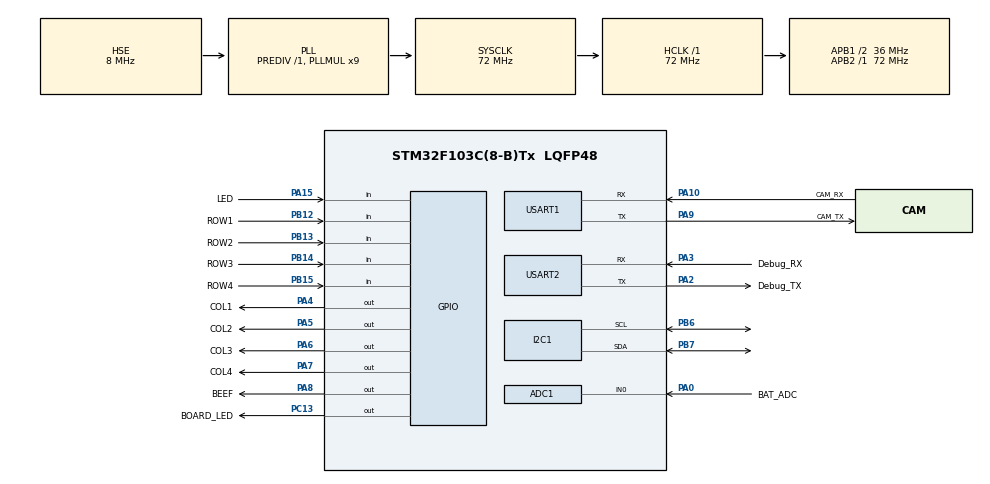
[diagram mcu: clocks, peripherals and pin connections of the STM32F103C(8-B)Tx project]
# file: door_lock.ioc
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ADC1.ContinuousConvMode=DISABLE
ADC1.DataAlign=ADC_DATAALIGN_RIGHT
ADC1.NbrOfConversion=1
ADC1.NbrOfConversionFlag=1
ADC1.master=1
FREERTOS.Queues01=DoorEventQueue,8,DoorEvent,0,Dynamic,NULL,NULL
FREERTOS.Tasks01=PasswordTask,24,256,StartPasswordTask,Default,NULL,Dynamic,NULL,NULL;NfcTask,24,256,StartNfcTask,Default,NULL,Dynamic,NULL,NULL;CtrlTask,32,256,StartCtrlTask,Default,NULL,Dynamic,NULL,NULL
FREERTOS.configTOTAL_HEAP_SIZE=6144
Mcu.Family=STM32F1
Mcu.Name=STM32F103C(8-B)Tx
Mcu.Package=LQFP48
NVIC.PriorityGroup=NVIC_PRIORITYGROUP_4
NVIC.TIM2_IRQn=true\:15\:0\:false\:false\:true\:false\:false\:true\:true
NVIC.TimeBase=TIM2_IRQn
NVIC.TimeBaseIP=TIM2
PA0-WKUP.GPIO_Label=BAT_ADC
PA0-WKUP.Signal=ADCx_IN0
PA10.GPIO_Label=CAM_RX
PA10.Mode=Asynchronous
PA10.Signal=USART1_RX
PA13.Mode=Serial_Wire
PA13.Signal=SYS_JTMS-SWDIO
PA14.Mode=Serial_Wire
PA14.Signal=SYS_JTCK-SWCLK
PA15.GPIO_Label=LED
PA15.GPIO_PuPd=GPIO_PULLDOWN
PA15.Signal=GPIO_Input
PA2.GPIO_Label=Debug_TX
PA2.Mode=Asynchronous
PA2.Signal=USART2_TX
PA3.GPIO_Label=Debug_RX
PA3.Mode=Asynchronous
PA3.Signal=USART2_RX
PA4.GPIO_Label=COL1
PA4.PinState=GPIO_PIN_SET
PA4.Signal=GPIO_Output
PA5.GPIO_Label=COL2
PA5.PinState=GPIO_PIN_SET
PA5.Signal=GPIO_Output
PA6.GPIO_Label=COL3
PA6.PinState=GPIO_PIN_SET
PA6.Signal=GPIO_Output
PA7.GPIO_Label=COL4
PA7.PinState=GPIO_PIN_SET
PA7.Signal=GPIO_Output
PA8.GPIO_Label=BEEF
PA8.Signal=GPIO_Output
PA9.GPIO_Label=CAM_TX
PA9.Mode=Asynchronous
PA9.Signal=USART1_TX
PB12.GPIO_Label=ROW1
PB12.GPIO_PuPd=GPIO_PULLUP
PB12.Signal=GPIO_Input
PB13.GPIO_Label=ROW2
PB13.GPIO_PuPd=GPIO_PULLUP
PB13.Signal=GPIO_Input
PB14.GPIO_Label=ROW3
PB14.GPIO_PuPd=GPIO_PULLUP
PB14.Signal=GPIO_Input
PB15.GPIO_Label=ROW4
PB15.GPIO_PuPd=GPIO_PULLUP
PB15.Signal=GPIO_Input
PB6.Mode=I2C
PB6.Signal=I2C1_SCL
PB7.Mode=I2C
PB7.Signal=I2C1_SDA
PC13-TAMPER-RTC.GPIO_Label=BOARD_LED
PC13-TAMPER-RTC.PinState=GPIO_PIN_SET
PC13-TAMPER-RTC.Signal=GPIO_Output
PD0-OSC_IN.Mode=HSE-External-Oscillator
PD0-OSC_IN.Signal=RCC_OSC_IN
PD1-OSC_OUT.Mode=HSE-External-Oscillator
PD1-OSC_OUT.Signal=RCC_OSC_OUT
ProjectManager.HeapSize=0x200
ProjectManager.StackSize=0x400
ProjectManager.TargetToolchain=CMake
RCC.ADCPresc=RCC_ADCPCLK2_DIV6
RCC.AHBFreq_Value=72000000
RCC.APB1CLKDivider=RCC_HCLK_DIV2
RCC.APB1Freq_Value=36000000
RCC.APB1TimFreq_Value=72000000
RCC.APB2Freq_Value=72000000
RCC.APB2TimFreq_Value=72000000
RCC.HCLKFreq_Value=72000000
RCC.PLLMUL=RCC_PLL_MUL9
RCC.PLLSourceVirtual=RCC_PLLSOURCE_HSE
RCC.SYSCLKFreq_VALUE=72000000
RCC.SYSCLKSource=RCC_SYSCLKSOURCE_PLLCLK
RCC.USBFreq_Value=72000000
SH.ADCx_IN0.0=ADC1_IN0,IN0
USART1.VirtualMode=VM_ASYNC
USART2.VirtualMode=VM_ASYNC
VP_FREERTOS_VS_CMSIS_V2.Mode=CMSIS_V2
VP_SYS_VS_tim2.Mode=TIM2
board=custom

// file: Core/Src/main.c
/* USER CODE BEGIN Header */
/**
  ******************************************************************************
  * @file           : main.c
  * @brief          : Main program body
  ******************************************************************************
  * @attention
  *
  * Copyright (c) 2026 STMicroelectronics.
  * All rights reserved.
  *
  * This software is licensed under terms that can be found in the LICENSE file
  * in the root directory of this software component.
  * If no LICENSE file comes with this software, it is provided AS-IS.
  *
  ******************************************************************************
  */
/* USER CODE END Header */
#include "main.h"
#include "cmsis_os.h"

/* USER CODE BEGIN Includes */
#include <stdint.h>
#include <stdio.h>
#include <stdbool.h>
#include <string.h>
#include "stm32f1xx_hal_uart.h"
#include "access_config.h"
#include "access_control.h"
#include "door_hardware.h"
#include "door_ui.h"
#include "i2c_bus.h"
#include "keypad.h"
#include "pn532.h"
#include "ssd1306.h"
/* USER CODE END Includes */

/* USER CODE BEGIN PTD */
typedef enum {
  DOOR_EVENT_PIN_RESULT = 1,
  DOOR_EVENT_NFC_RESULT,
} DoorEventType;

typedef enum {
  PIN_MODE_NONE = 0,
  PIN_MODE_UNLOCK,
  PIN_MODE_ADMIN_AUTH,
  PIN_MODE_CHANGE_OLD,
  PIN_MODE_CHANGE_NEW,
  PIN_MODE_CHANGE_CONFIRM
} PinEntryMode;

typedef struct {
  DoorEventType type;
  bool authorized;
  uint8_t uid[PN532_MAX_UID_LENGTH];
  uint8_t uid_len;
  char pin[ACCESS_CONFIG_MAX_PIN_LENGTH + 1U];
  AccessControl_Role card_role;
} DoorEvent;

/* USER CODE END PTD */

/* USER CODE BEGIN PD */

#define STATUS_LED_ON GPIO_PIN_SET
#define STATUS_LED_OFF GPIO_PIN_RESET

#define AUTH_FAILURE_ALERT_THRESHOLD 3U
#define AUTH_ALERT_COOLDOWN_MS 30000U

/* USER CODE END PD */

ADC_HandleTypeDef hadc1;

I2C_HandleTypeDef hi2c1;

UART_HandleTypeDef huart1;
UART_HandleTypeDef huart2;

/* Definitions for PasswordTask */
osThreadId_t PasswordTaskHandle;
const osThreadAttr_t PasswordTask_attributes = {
  .name = "PasswordTask",
  .stack_size = 256 * 4,
  .priority = (osPriority_t) osPriorityNormal,
};
/* Definitions for NfcTask */
osThreadId_t NfcTaskHandle;
const osThreadAttr_t NfcTask_attributes = {
  .name = "NfcTask",
  .stack_size = 256 * 4,
  .priority = (osPriority_t) osPriorityNormal,
};
/* Definitions for CtrlTask */
osThreadId_t CtrlTaskHandle;
const osThreadAttr_t CtrlTask_attributes = {
  .name = "CtrlTask",
  .stack_size = 256 * 4,
  .priority = (osPriority_t) osPriorityAboveNormal,
};
/* Definitions for DoorEventQueue */
osMessageQueueId_t DoorEventQueueHandle;
const osMessageQueueAttr_t DoorEventQueue_attributes = {
  .name = "DoorEventQueue"
};
/* USER CODE BEGIN PV */
static PN532_HandleTypeDef hpn532;
static SSD1306_HandleTypeDef holed;
static DoorUI_HandleTypeDef door_ui;
static Keypad_HandleTypeDef keypad;
static AccessControl access_control;
static osMutexId_t I2cBusMutexHandle;
static const osMutexAttr_t I2cBusMutex_attributes = {
  .name = "I2cBusMutex"
};
static PinEntryMode pin_entry_mode;
static bool card_enroll_active;
static char pending_new_pin[ACCESS_CONFIG_MAX_PIN_LENGTH + 1U];
static uint8_t consecutive_auth_failures;
static uint32_t last_capture_alert_tick;

/* USER CODE END PV */

void SystemClock_Config(void);
static void MX_GPIO_Init(void);
static void MX_I2C1_Init(void);
static void MX_USART1_UART_Init(void);
static void MX_USART2_UART_Init(void);
static void MX_ADC1_Init(void);
void StartPasswordTask(void *argument);
void StartNfcTask(void *argument);
void StartCtrlTask(void *argument);

/* USER CODE BEGIN 0 */
static void StatusLed_Set(GPIO_PinState state)
{
  HAL_GPIO_WritePin(BOARD_LED_GPIO_Port, BOARD_LED_Pin, state);
}

static void StatusLed_Authorized(void)
{
  /* 授权成功：亮灯 500 ms。 */
  StatusLed_Set(STATUS_LED_ON);
  osDelay(500U);
  StatusLed_Set(STATUS_LED_OFF);
}

static void StatusLed_Denied(void)
{
  /* 授权失败：快速闪烁两次。 */
  for (uint8_t i = 0U; i < 2U; i++)
  {
    StatusLed_Set(STATUS_LED_ON);
    osDelay(120U);
    StatusLed_Set(STATUS_LED_OFF);
    osDelay(120U);
  }
}

static const char *NfcRoleName(AccessControl_Role role)
{
  switch (role)
  {
    case ACCESS_CONTROL_ROLE_ADMIN:
      return "ADMIN";
    case ACCESS_CONTROL_ROLE_USER:
      return "USER";
    default:
      return "STRANGER";
  }
}

static void ShowAccessResult(bool authorized)
{
  DoorUI_ShowAccessResult(&door_ui, authorized);

  if (authorized)
  {
    printf("[AUTH] AUTHORIZED\r\n");
    printf("DOOR:OPEN\r\n");
    DoorHardware_OnAccessGranted();
    printf("DOOR:CLOSED\r\n");
    StatusLed_Authorized();
  }
  else
  {
    printf("[AUTH] DENIED\r\n");
    DoorHardware_OnAccessDenied();
    StatusLed_Denied();
  }

  osDelay(500U);
  DoorUI_ShowIdle(&door_ui);
}

static bool AuthAlert_IsDue(uint32_t now)
{
  return consecutive_auth_failures >= AUTH_FAILURE_ALERT_THRESHOLD &&
         (last_capture_alert_tick == 0U ||
          (uint32_t)(now - last_capture_alert_tick) >= AUTH_ALERT_COOLDOWN_MS);
}

static void HandleAuthResult(const DoorEvent *event)
{
  uint32_t now = HAL_GetTick();

  if (event->authorized)
  {
    consecutive_auth_failures = 0U;
  }
  else if (consecutive_auth_failures < UINT8_MAX)
  {
    consecutive_auth_failures++;
  }

  /* PIN is stored as a hash; this event carries the entered PIN for host display. */
  if (event->type == DOOR_EVENT_PIN_RESULT)
  {
    printf("AUTH:PASSWORD:%s:%s:PIN\r\n",
           event->authorized ? "SUCCESS" : "FAILED",
           event->pin);
  }
  else if (event->type == DOOR_EVENT_NFC_RESULT)
  {
    char uid_str[PN532_MAX_UID_LENGTH * 2 + 1];
    for (uint8_t i = 0; i < event->uid_len; i++)
    {
      sprintf(uid_str + i * 2, "%02X", event->uid[i]);
    }
    uid_str[event->uid_len * 2] = '\0';
    printf("AUTH:NFC:%s:%s:%s\r\n",
           event->authorized ? "SUCCESS" : "FAILED",
           uid_str,
           NfcRoleName(event->card_role));
  }

  if (!event->authorized && AuthAlert_IsDue(now))
  {
    printf("[ALERT] Consecutive failures: %u\r\n", (unsigned int)consecutive_auth_failures);
    DoorHardware_OnAlert();
    last_capture_alert_tick = now;
  }

  ShowAccessResult(event->authorized);
}

static osStatus_t DoorEvent_Send(DoorEventType type, bool authorized, const uint8_t *uid, uint8_t uid_len,
                                 const char *pin, AccessControl_Role card_role)
{
  DoorEvent event = {0};

  event.type = type;
  event.authorized = authorized;
  event.uid_len = uid_len > PN532_MAX_UID_LENGTH ? PN532_MAX_UID_LENGTH : uid_len;
  event.card_role = card_role;

  if (uid != NULL && event.uid_len > 0U)
  {
    memcpy(event.uid, uid, event.uid_len);
  }

  if (pin != NULL)
  {
    strncpy(event.pin, pin, ACCESS_CONFIG_MAX_PIN_LENGTH);
    event.pin[ACCESS_CONFIG_MAX_PIN_LENGTH] = '\0';
  }

  return osMessageQueuePut(DoorEventQueueHandle, &event, 0U, 0U);
}

static bool PinEntry_IsActive(void)
{
  return pin_entry_mode != PIN_MODE_NONE;
}

static void BeginPinEntry(PinEntryMode mode, const char *title)
{
  pin_entry_mode = mode;
  DoorUI_BeginPinEntryWithTitle(&door_ui, title);
  printf("[PIN] Entry started\r\n");
}

static void EndPinEntry(void)
{
  pin_entry_mode = PIN_MODE_NONE;
  DoorUI_ShowIdle(&door_ui);
}

static void ShowDeniedMessage(const char *title)
{
  pin_entry_mode = PIN_MODE_NONE;
  DoorUI_ShowMessage(&door_ui, title, "WRONG PIN", NULL);
  DoorHardware_OnAccessDenied();
  StatusLed_Denied();
  osDelay(500U);
  DoorUI_ShowIdle(&door_ui);
}

static void SubmitPinEntry(void)
{
  const char *pin = DoorUI_GetPin(&door_ui);

  switch (pin_entry_mode)
  {
    case PIN_MODE_UNLOCK:
      pin_entry_mode = PIN_MODE_NONE;
      (void)DoorEvent_Send(DOOR_EVENT_PIN_RESULT, AccessConfig_IsPinAuthorized(pin), NULL, 0U, pin, ACCESS_CONTROL_ROLE_NONE);
      break;

    case PIN_MODE_ADMIN_AUTH:
      if (AccessConfig_IsPinAuthorized(pin))
      {
        pin_entry_mode = PIN_MODE_NONE;
        card_enroll_active = true;
        DoorUI_ShowMessage(&door_ui, "ADD CARD", "SCAN NEW CARD", "R TO CANCEL");
        printf("[ADMIN] Card enrollment started\r\n");
      }
      else
      {
        ShowDeniedMessage("ADMIN PIN");
      }
      break;

    case PIN_MODE_CHANGE_OLD:
      if (AccessConfig_IsPinAuthorized(pin))
      {
        BeginPinEntry(PIN_MODE_CHANGE_NEW, "NEW PIN");
      }
      else
      {
        ShowDeniedMessage("OLD PIN");
      }
      break;

    case PIN_MODE_CHANGE_NEW:
      if (DoorUI_GetPinLength(&door_ui) > 0U)
      {
        strncpy(pending_new_pin, pin, sizeof(pending_new_pin) - 1U);
        pending_new_pin[sizeof(pending_new_pin) - 1U] = '\0';
        BeginPinEntry(PIN_MODE_CHANGE_CONFIRM, "CONFIRM PIN");
      }
      else
      {
        DoorUI_ShowMessage(&door_ui, "NEW PIN", "1 TO 8 DIGITS", NULL);
        osDelay(700U);
        BeginPinEntry(PIN_MODE_CHANGE_NEW, "NEW PIN");
      }
      break;

    case PIN_MODE_CHANGE_CONFIRM:
      if (strcmp(pin, pending_new_pin) == 0)
      {
        (void)AccessConfig_SetPin(pin);
        pin_entry_mode = PIN_MODE_NONE;
        DoorUI_ShowMessage(&door_ui, "PIN UPDATED", "PASSWORD SAVED", NULL);
        printf("[PIN] Password changed\r\n");
        osDelay(700U);
        DoorUI_ShowIdle(&door_ui);
      }
      else
      {
        DoorUI_ShowMessage(&door_ui, "PIN MISMATCH", "TRY AGAIN", NULL);
        osDelay(700U);
        BeginPinEntry(PIN_MODE_CHANGE_NEW, "NEW PIN");
      }
      break;

    default:
      break;
  }
}

static void HandleKeypadKey(char key)
{
  if (key == KEYPAD_NO_KEY)
  {
    return;
  }

  /* PIN 输入期间不打印数字键明文，其他键正常打印 */
  if (PinEntry_IsActive() && key >= '0' && key <= '9')
  {
    printf("[KEYPAD] Key: *\r\n");
  }
  else
  {
    printf("[KEYPAD] Key: %c\r\n", key);
  }

  if (card_enroll_active)
  {
    if (key == KEYPAD_KEY_BACK)
    {
      card_enroll_active = false;
      DoorUI_ShowIdle(&door_ui);
      printf("[ADMIN] Card enrollment canceled\r\n");
    }
    return;
  }

  if (key >= '0' && key <= '9')
  {
    if (!PinEntry_IsActive())
    {
      BeginPinEntry(PIN_MODE_UNLOCK, "ENTER PIN");
    }

    (void)DoorUI_EnterPinDigit(&door_ui, key);
    return;
  }

  switch (key)
  {
    case KEYPAD_KEY_UNLOCK:
      if (PinEntry_IsActive())
      {
        SubmitPinEntry();
      }
      else
      {
        BeginPinEntry(PIN_MODE_UNLOCK, "ENTER PIN");
      }
      break;
    case KEYPAD_KEY_BACK:
      if (PinEntry_IsActive())
      {
        EndPinEntry();
      }
      break;
    case KEYPAD_KEY_ADMIN:
      BeginPinEntry(PIN_MODE_ADMIN_AUTH, "ADMIN PIN");
      break;
    case KEYPAD_KEY_CHANGE:
      BeginPinEntry(PIN_MODE_CHANGE_OLD, "OLD PIN");
      break;
    case KEYPAD_KEY_CONFIRM:
      if (PinEntry_IsActive())
      {
        SubmitPinEntry();
      }
      break;
    case KEYPAD_KEY_DELETE:
      if (PinEntry_IsActive())
      {
        (void)DoorUI_BackspacePin(&door_ui);
      }
      break;

    default:
      break;
  }
}

int _write(int file, char *ptr, int len)
{
  (void)file;
  HAL_UART_Transmit(&huart2, (uint8_t *)ptr, len, HAL_MAX_DELAY);
  return len;
}
/* USER CODE END 0 */

int main(void)
{

  /* MCU Configuration--------------------------------------------------------*/

  /* Reset of all peripherals, Initializes the Flash interface and the Systick. */
  HAL_Init();

  /* Configure the system clock */
  SystemClock_Config();

  /* Initialize all configured peripherals */
  MX_GPIO_Init();
  MX_I2C1_Init();
  MX_USART1_UART_Init();
  MX_USART2_UART_Init();
  MX_ADC1_Init();
  /* USER CODE BEGIN 2 */
  AccessConfig_Init();
  AccessControl_Init(&access_control);
  printf("[AUTH] Loaded %lu authorized card(s)\r\n",
         (unsigned long)AccessConfig_LoadAuthorizedCards(&access_control));
  /* USER CODE END 2 */

  /* Init scheduler */
  osKernelInitialize();

  /* USER CODE BEGIN RTOS_MUTEX */
  /* add mutexes, ... */
  I2cBusMutexHandle = osMutexNew(&I2cBusMutex_attributes);
  if (I2cBusMutexHandle == NULL)
  {
    Error_Handler();
  }
  I2CBus_Init(I2cBusMutexHandle);
  /* USER CODE END RTOS_MUTEX */

  /* Create the queue(s) */
  /* creation of DoorEventQueue */
  DoorEventQueueHandle = osMessageQueueNew (8, sizeof(DoorEvent), &DoorEventQueue_attributes);

  /* Create the thread(s) */
  /* creation of PasswordTask */
  PasswordTaskHandle = osThreadNew(StartPasswordTask, NULL, &PasswordTask_attributes);

  /* creation of NfcTask */
  NfcTaskHandle = osThreadNew(StartNfcTask, NULL, &NfcTask_attributes);

  /* creation of CtrlTask */
  CtrlTaskHandle = osThreadNew(StartCtrlTask, NULL, &CtrlTask_attributes);

  /* Start scheduler */
  osKernelStart();

  /* We should never get here as control is now taken by the scheduler */

  /* Infinite loop */
  while (1)
  {

  }
}

void SystemClock_Config(void)
{
  RCC_OscInitTypeDef RCC_OscInitStruct = {0};
  RCC_ClkInitTypeDef RCC_ClkInitStruct = {0};
  RCC_PeriphCLKInitTypeDef PeriphClkInit = {0};

  /** Initializes the RCC Oscillators according to the specified parameters
  * in the RCC_OscInitTypeDef structure.
  */
  RCC_OscInitStruct.OscillatorType = RCC_OSCILLATORTYPE_HSE;
  RCC_OscInitStruct.HSEState = RCC_HSE_ON;
  RCC_OscInitStruct.HSEPredivValue = RCC_HSE_PREDIV_DIV1;
  RCC_OscInitStruct.HSIState = RCC_HSI_ON;
  RCC_OscInitStruct.PLL.PLLState = RCC_PLL_ON;
  RCC_OscInitStruct.PLL.PLLSource = RCC_PLLSOURCE_HSE;
  RCC_OscInitStruct.PLL.PLLMUL = RCC_PLL_MUL9;
  if (HAL_RCC_OscConfig(&RCC_OscInitStruct) != HAL_OK)
  {
    Error_Handler();
  }

  /** Initializes the CPU, AHB and APB buses clocks
  */
  RCC_ClkInitStruct.ClockType = RCC_CLOCKTYPE_HCLK|RCC_CLOCKTYPE_SYSCLK
                              |RCC_CLOCKTYPE_PCLK1|RCC_CLOCKTYPE_PCLK2;
  RCC_ClkInitStruct.SYSCLKSource = RCC_SYSCLKSOURCE_PLLCLK;
  RCC_ClkInitStruct.AHBCLKDivider = RCC_SYSCLK_DIV1;
  RCC_ClkInitStruct.APB1CLKDivider = RCC_HCLK_DIV2;
  RCC_ClkInitStruct.APB2CLKDivider = RCC_HCLK_DIV1;

  if (HAL_RCC_ClockConfig(&RCC_ClkInitStruct, FLASH_LATENCY_2) != HAL_OK)
  {
    Error_Handler();
  }
  PeriphClkInit.PeriphClockSelection = RCC_PERIPHCLK_ADC;
  PeriphClkInit.AdcClockSelection = RCC_ADCPCLK2_DIV6;
  if (HAL_RCCEx_PeriphCLKConfig(&PeriphClkInit) != HAL_OK)
  {
    Error_Handler();
  }
}

static void MX_ADC1_Init(void)
{

  /** Common config
  */
  hadc1.Instance = ADC1;
  hadc1.Init.ScanConvMode = ADC_SCAN_DISABLE;
  hadc1.Init.ContinuousConvMode = DISABLE;
  hadc1.Init.DiscontinuousConvMode = DISABLE;
  hadc1.Init.ExternalTrigConv = ADC_SOFTWARE_START;
  hadc1.Init.DataAlign = ADC_DATAALIGN_RIGHT;
  hadc1.Init.NbrOfConversion = 1;
  if (HAL_ADC_Init(&hadc1) != HAL_OK)
  {
    Error_Handler();
  }

}

static void MX_I2C1_Init(void)
{

  hi2c1.Instance = I2C1;
  hi2c1.Init.ClockSpeed = 100000;
  hi2c1.Init.DutyCycle = I2C_DUTYCYCLE_2;
  hi2c1.Init.OwnAddress1 = 0;
  hi2c1.Init.AddressingMode = I2C_ADDRESSINGMODE_7BIT;
  hi2c1.Init.DualAddressMode = I2C_DUALADDRESS_DISABLE;
  hi2c1.Init.OwnAddress2 = 0;
  hi2c1.Init.GeneralCallMode = I2C_GENERALCALL_DISABLE;
  hi2c1.Init.NoStretchMode = I2C_NOSTRETCH_DISABLE;
  if (HAL_I2C_Init(&hi2c1) != HAL_OK)
  {
    Error_Handler();
  }

}

static void MX_USART1_UART_Init(void)
{

  huart1.Instance = USART1;
  huart1.Init.BaudRate = 115200;
  huart1.Init.WordLength = UART_WORDLENGTH_8B;
  huart1.Init.StopBits = UART_STOPBITS_1;
  huart1.Init.Parity = UART_PARITY_NONE;
  huart1.Init.Mode = UART_MODE_TX_RX;
  huart1.Init.HwFlowCtl = UART_HWCONTROL_NONE;
  huart1.Init.OverSampling = UART_OVERSAMPLING_16;
  if (HAL_UART_Init(&huart1) != HAL_OK)
  {
    Error_Handler();
  }

}

static void MX_USART2_UART_Init(void)
{

  huart2.Instance = USART2;
  huart2.Init.BaudRate = 115200;
  huart2.Init.WordLength = UART_WORDLENGTH_8B;
  huart2.Init.StopBits = UART_STOPBITS_1;
  huart2.Init.Parity = UART_PARITY_NONE;
  huart2.Init.Mode = UART_MODE_TX_RX;
  huart2.Init.HwFlowCtl = UART_HWCONTROL_NONE;
  huart2.Init.OverSampling = UART_OVERSAMPLING_16;
  if (HAL_UART_Init(&huart2) != HAL_OK)
  {
    Error_Handler();
  }

}

static void MX_GPIO_Init(void)
{
  GPIO_InitTypeDef GPIO_InitStruct = {0};

  /* GPIO Ports Clock Enable */
  __HAL_RCC_GPIOC_CLK_ENABLE();
  __HAL_RCC_GPIOD_CLK_ENABLE();
  __HAL_RCC_GPIOA_CLK_ENABLE();
  __HAL_RCC_GPIOB_CLK_ENABLE();

  /*Configure GPIO pin Output Level */
  HAL_GPIO_WritePin(BOARD_LED_GPIO_Port, BOARD_LED_Pin, GPIO_PIN_SET);

  /*Configure GPIO pin Output Level */
  HAL_GPIO_WritePin(GPIOA, COL1_Pin|COL2_Pin|COL3_Pin|COL4_Pin, GPIO_PIN_SET);

  /*Configure GPIO pin Output Level */
  HAL_GPIO_WritePin(BEEF_GPIO_Port, BEEF_Pin, GPIO_PIN_RESET);

  /*Configure GPIO pin Output Level */
  HAL_GPIO_WritePin(LED_GPIO_Port, LED_Pin, GPIO_PIN_SET);

  /*Configure GPIO pin : BOARD_LED_Pin */
  GPIO_InitStruct.Pin = BOARD_LED_Pin;
  GPIO_InitStruct.Mode = GPIO_MODE_OUTPUT_PP;
  GPIO_InitStruct.Pull = GPIO_NOPULL;
  GPIO_InitStruct.Speed = GPIO_SPEED_FREQ_LOW;
  HAL_GPIO_Init(BOARD_LED_GPIO_Port, &GPIO_InitStruct);

  /*Configure GPIO pins : COL1_Pin COL2_Pin COL3_Pin COL4_Pin
                           BEEF_Pin */
  GPIO_InitStruct.Pin = COL1_Pin|COL2_Pin|COL3_Pin|COL4_Pin
                          |BEEF_Pin;
  GPIO_InitStruct.Mode = GPIO_MODE_OUTPUT_PP;
  GPIO_InitStruct.Pull = GPIO_NOPULL;
  GPIO_InitStruct.Speed = GPIO_SPEED_FREQ_LOW;
  HAL_GPIO_Init(GPIOA, &GPIO_InitStruct);

  /*Configure GPIO pins : ROW1_Pin ROW2_Pin ROW3_Pin ROW4_Pin */
  GPIO_InitStruct.Pin = ROW1_Pin|ROW2_Pin|ROW3_Pin|ROW4_Pin;
  GPIO_InitStruct.Mode = GPIO_MODE_INPUT;
  GPIO_InitStruct.Pull = GPIO_PULLUP;
  HAL_GPIO_Init(GPIOB, &GPIO_InitStruct);

  /*Configure GPIO pin : LED_Pin */
  GPIO_InitStruct.Pin = LED_Pin;
  GPIO_InitStruct.Mode = GPIO_MODE_OUTPUT_PP;
  GPIO_InitStruct.Pull = GPIO_NOPULL;
  GPIO_InitStruct.Speed = GPIO_SPEED_FREQ_LOW;
  HAL_GPIO_Init(LED_GPIO_Port, &GPIO_InitStruct);

}

void StartPasswordTask(void *argument)
{
  /* USER CODE BEGIN 5 */
  (void)argument;
  printf("\r\nPassword Task start\r\n");

  Keypad_Init(&keypad);
  DoorHardware_Init();

  pin_entry_mode = PIN_MODE_NONE;
  card_enroll_active = false;
  memset(pending_new_pin, 0, sizeof(pending_new_pin));
  consecutive_auth_failures = 0U;
  last_capture_alert_tick = 0U;

  DoorUI_Init(&door_ui, NULL);
  if (SSD1306_Init(&holed, &hi2c1, SSD1306_DEFAULT_I2C_ADDRESS) == HAL_OK)
  {
    DoorUI_Init(&door_ui, &holed);
    DoorUI_ShowBootAnimation(&door_ui);
    DoorUI_ShowIdle(&door_ui);
  }
  else
  {
    printf("OLED not found\r\n");
  }

  /* Phase 1: 发送就绪消息 */
  printf("DOOR_LOCK_READY\r\n");

  /* Phase 3: 发送当前保存的密码和NFC卡信息（密码已哈希不输出明文） */
  printf("INFO:PASSWORD:HASHED\r\n");
  size_t count = AccessControl_GetCardCount(&access_control);
  for (size_t i = 0; i < count; i++)
  {
    const AccessControl_Card *card = AccessControl_GetCard(&access_control, i);
    if (card != NULL && card->uid_length > 0)
    {
      char uid_str[PN532_MAX_UID_LENGTH * 2 + 1];
      for (uint8_t j = 0; j < card->uid_length; j++)
      {
        sprintf(uid_str + j * 2, "%02X", card->uid[j]);
      }
      uid_str[card->uid_length * 2] = '\0';
      printf("INFO:NFC:%s:%s\r\n", uid_str, NfcRoleName(card->role));
    }
  }

  uint32_t last_heartbeat = HAL_GetTick();
  for (;;)
  {
    HandleKeypadKey(Keypad_GetKey(&keypad));

    /* Phase 1: 每 5 秒发送一次心跳 */
    uint32_t now = HAL_GetTick();
    if ((uint32_t)(now - last_heartbeat) >= 5000U)
    {
      last_heartbeat = now;
      printf("HEARTBEAT\r\n");
    }

    osDelay(10U);
  }
  /* USER CODE END 5 */
}

void StartNfcTask(void *argument)
{
  /* USER CODE BEGIN StartNfcTask */
  (void)argument;

  uint8_t last_uid[PN532_MAX_UID_LENGTH] = {0};
  uint8_t last_uid_len = 0U;
  bool card_present = false;

  printf("NFC Task start\r\n");
  if (PN532_Init(&hpn532, &hi2c1, PN532_DEFAULT_I2C_ADDRESS) != HAL_OK)
  {
    printf("[NFC] PN532 not found\r\n");
    for (;;)
    {
      osDelay(1000U);
    }
  }

  if (PN532_SAMConfig(&hpn532) != HAL_OK)
  {
    printf("[NFC] SAM config failed\r\n");
    for (;;)
    {
      osDelay(1000U);
    }
  }

  printf("[NFC] PN532 ready\r\n");

  for (;;)
  {
    uint8_t uid[PN532_MAX_UID_LENGTH] = {0};
    uint8_t uid_len = sizeof(uid);

    if (PN532_ReadCardUID(&hpn532, uid, &uid_len) != HAL_OK)
    {
      card_present = false;
      last_uid_len = 0U;
      osDelay(100U);
      continue;
    }

    bool same_card = card_present &&
                     uid_len == last_uid_len &&
                     memcmp(uid, last_uid, uid_len) == 0;

    if (!same_card)
    {
      memcpy(last_uid, uid, uid_len);
      last_uid_len = uid_len;
      card_present = true;

      if (card_enroll_active)
      {
        AccessControl_Role role = AccessControl_GetCardCount(&access_control) == 0U ?
                                  ACCESS_CONTROL_ROLE_ADMIN : ACCESS_CONTROL_ROLE_USER;
        AccessControl_Status status = AccessControl_AddCardWithRole(&access_control, uid, uid_len, role);
        AccessControl_Role saved_role = status == ACCESS_CONTROL_DUPLICATE ?
                                        AccessControl_GetRole(&access_control, uid, uid_len) : role;

        card_enroll_active = false;
        if (status == ACCESS_CONTROL_OK || status == ACCESS_CONTROL_DUPLICATE)
        {
          DoorUI_ShowMessage(&door_ui,
                             saved_role == ACCESS_CONTROL_ROLE_ADMIN ? "ADMIN SAVED" : "CARD SAVED",
                             saved_role == ACCESS_CONTROL_ROLE_ADMIN ? "ADMIN CARD" : "CAN OPEN DOOR",
                             NULL);
          StatusLed_Authorized();
          printf("[NFC] Card enrolled, role=%s, count=%lu\r\n",
                 NfcRoleName(saved_role),
                 (unsigned long)AccessControl_GetCardCount(&access_control));
        }
        else
        {
          DoorUI_ShowMessage(&door_ui, "CARD FAILED", "TRY AGAIN", NULL);
          DoorHardware_OnAccessDenied();
          printf("[NFC] Card enroll failed: %u\r\n", (unsigned int)status);
        }
        osDelay(700U);
        DoorUI_ShowIdle(&door_ui);
      }
      else
      {
        AccessControl_Role role = AccessControl_GetRole(&access_control, uid, uid_len);
        bool authorized = role == ACCESS_CONTROL_ROLE_ADMIN || role == ACCESS_CONTROL_ROLE_USER;

        printf("[NFC] Card detected, role=%s, authorized=%u\r\n", NfcRoleName(role), authorized ? 1U : 0U);
        (void)DoorEvent_Send(DOOR_EVENT_NFC_RESULT, authorized, uid, uid_len, NULL, role);
      }
    }

    osDelay(200U);
  }
  /* USER CODE END StartNfcTask */
}

void StartCtrlTask(void *argument)
{
  /* USER CODE BEGIN StartCtrlTask */
  (void)argument;

  DoorEvent event;

  for (;;)
  {
    if (osMessageQueueGet(DoorEventQueueHandle, &event, NULL, osWaitForever) == osOK &&
        (event.type == DOOR_EVENT_PIN_RESULT || event.type == DOOR_EVENT_NFC_RESULT))
    {
      HandleAuthResult(&event);
    }
  }
  /* USER CODE END StartCtrlTask */
}

void HAL_TIM_PeriodElapsedCallback(TIM_HandleTypeDef *htim)
{
  if (htim->Instance == TIM2)
  {
    HAL_IncTick();
  }
}

void Error_Handler(void)
{
  __disable_irq();
  while (1)
  {
  }
}
